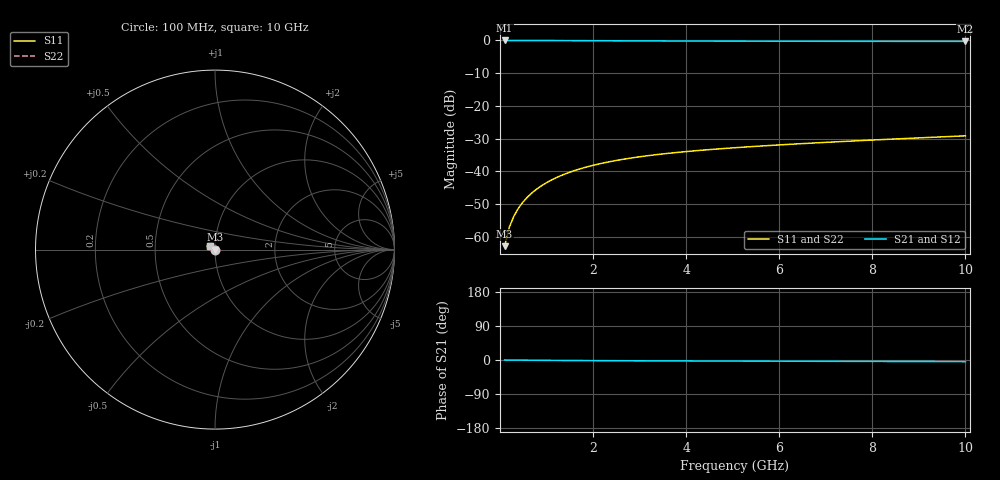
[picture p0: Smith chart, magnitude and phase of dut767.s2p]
! Touchstone file exported from HFSS 2024.1.0
!  File:  C:/UserFiles/LocalFiles/RDL_TSV_Batchsim/temp_TSV1_767_1779873072.aedt
!  Generated:  05:17:00 PM May 27, 2026
!  Design:  TSV1
!  Project:  temp_TSV1_767_1779873072
!  Setup:  Setup1
!  Solution:  Sweep
! Variables:
!  dtsv = 7.95um
!  hbump = 3um
!  htsv = 61.86um
!  lrdl = 252.1521522um
!  p = 40
!  p1 = 57.67um
!  t = 500um
!  trdl = 3um
!  wrdl = 24.89489489um
# GHz S MA R 50.000000
! Terminal data exported
! Port[1] = TSV22_T1
! Port[2] = TSV22_T2
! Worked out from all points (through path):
!   100 points, 100 MHz to 10 GHz, reference 50 ohm
!   highest |S21| = 0.00 dB at 100 MHz (marker M1); lowest = -0.3 dB at 10 GHz (marker M2)
!   lowest |S11| = -62.9 dB at 100 MHz (marker M3), VSWR 1.00, Z = 50 - j0.0693 ohm
!   |S11| at or under -10 dB: start of sweep to end of sweep
!   |S22| runs from -62.9 to -29.2 dB; largest |S21 - S12| = 4.1e-15
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0.1  0.0007126 -76.4  0.9998 -0.1  0.9998 -0.1  0.0007126 -76.4
! Gamma 0 0 0 0
! Port Impedance 50 0 50 0
0.2  0.001383 -86.6  0.9997 -0.2  0.9997 -0.2  0.001383 -86.6
0.3  0.00206 -91.7  0.9995 -0.3  0.9995 -0.3  0.00206 -91.7
0.4  0.002736 -95.4  0.9993 -0.4  0.9993 -0.4  0.002736 -95.4
0.5  0.003408 -98.6  0.999 -0.5  0.999 -0.5  0.003408 -98.6
0.6  0.004075 -101.4  0.9987 -0.6  0.9987 -0.6  0.004075 -101.4
0.7  0.004735 -104.1  0.9984 -0.7  0.9984 -0.7  0.004735 -104.1
0.8  0.005387 -106.7  0.998 -0.7  0.998 -0.7  0.005387 -106.7
0.9  0.00603 -109.1  0.9975 -0.8  0.9975 -0.8  0.00603 -109.1
1.1  0.007284 -113.9  0.9965 -1.0  0.9965 -1.0  0.007284 -113.9
1.4  0.009074 -120.6  0.9948 -1.2  0.9948 -1.2  0.009074 -120.6
1.6  0.0102 -124.8  0.9936 -1.4  0.9936 -1.4  0.0102 -124.8
1.8  0.01127 -128.8  0.9923 -1.5  0.9923 -1.5  0.01127 -128.8
2.1  0.01277 -134.6  0.9904 -1.7  0.9904 -1.7  0.01277 -134.6
2.5  0.01459 -141.9  0.9879 -1.9  0.9879 -1.9  0.01459 -141.9
2.9  0.01622 -148.5  0.9854 -2.1  0.9854 -2.1  0.01622 -148.5
3.4  0.01803 -156.1  0.9827 -2.3  0.9827 -2.3  0.01803 -156.1
4.2  0.02054 -166.7  0.979 -2.6  0.979 -2.6  0.02054 -166.7
5.1  0.02298 -176.9  0.9758 -2.9  0.9758 -2.9  0.02298 -176.9
6.7  0.02689 168.5  0.9718 -3.3  0.9718 -3.3  0.02689 168.5
8.4  0.03089 156.7  0.9691 -3.9  0.9691 -3.9  0.03089 156.7
10  0.03473 147.8  0.9672 -4.4  0.9672 -4.4  0.03473 147.8
